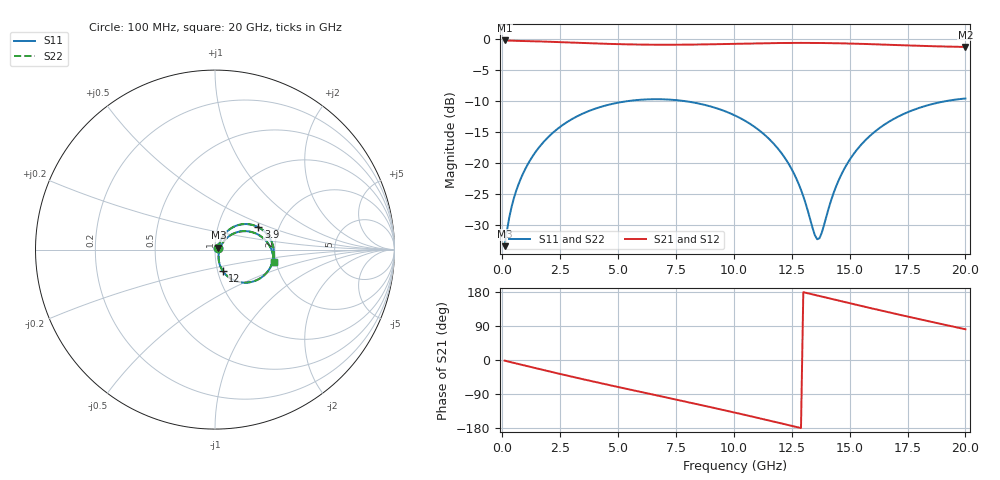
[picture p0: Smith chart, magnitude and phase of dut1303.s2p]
! Touchstone file exported from HFSS 2026.1.0
!  File:  C:/ffzhzh/LocalFiles/Ansys_Project_Files/temp_train_TSV_RDL_1303_1783333837_30076.aedt
!  Generated:  06:39:35 PM Jul  6, 2026
!  Design:  TSV_RDL
!  Project:  temp_train_TSV_RDL_1303_1783333837_30076
! Variables:
!  h_bsmrdl = 4.13um
!  h_ox = 20um
!  h_rdl = 5um
!  h_sub = 76.27um
!  h_tmrdl = 3.85um
!  h_tsv = 76.27um
!  h_via = 3um
!  l_bsmrdl = 592.97um
!  l_sub = 4725.36um
!  l_tmrdl = 601.28um
!  m_sub = 200um
!  pitch = 37.11um
!  r_tsv = 6.52um
!  s_tmrdl = 10um
!  w_bsmrdl = 18.22um
!  w_sub = 500um
!  w_tmrdl = 28.89um
!  x_tsv_center1 = 615.725um
!  x_tsv_center2 = 1226.915um
!  x_tsv_center3 = 1857.085um
!  x_tsv_center4 = 2468.275um
!  x_tsv_center5 = 3098.445um
!  x_tsv_center6 = 3709.635um
# GHz S MA R 50.000000
! Terminal data exported
! Port[1] = TM_RDL1_1_T1
! Port[2] = TM_RDL5_1_T1
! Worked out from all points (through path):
!   200 points, 100 MHz to 20 GHz, reference 50 ohm
!   highest |S21| = -0.16 dB at 100 MHz (marker M1); lowest = -1.2 dB at 20 GHz (marker M2)
!   group delay of S21, straight-line fit = 38.6 ps
!   lowest |S11| = -33.4 dB at 100 MHz (marker M3), VSWR 1.04, Z = 51.9 + j1.07 ohm
!   |S11| at or under -10 dB: start of sweep to 5.319 GHz; 7.976 GHz to 19.08 GHz (11.11 GHz wide, 82.1 % of centre)
!   |S22| runs from -33.4 to -9.5 dB; largest |S21 - S12| = 1.6e-14
!   S11 on the Smith chart (normalised r, x): 100 MHz: 1.04, +0.02; 3.9 GHz: 1.57, +0.42; 12 GHz: 1.06, -0.25; 20 GHz: 1.94, -0.30
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0.1  0.02149 28.5  0.9814 -1.6  0.9814 -1.6  0.02149 28.5
! Gamma 0 0 0 0
! Port Impedance 50 0 50 0
0.3  0.03653 51.0  0.978 -4.7  0.978 -4.7  0.03642 51.1
0.5  0.05236 56.7  0.9754 -7.7  0.9754 -7.7  0.05229 56.8
1.2  0.1059 57.8  0.9687 -18.0  0.9687 -18.0  0.1059 57.8
2.2  0.1778 48.4  0.9558 -32.6  0.9558 -32.6  0.1778 48.4
3.5  0.2534 32.5  0.9359 -50.9  0.9359 -50.9  0.2534 32.5
3.9  0.2717 27.4  0.9301 -56.4  0.9301 -56.4  0.2717 27.4
5.3  0.3159 9.7  0.9137 -75.3  0.9137 -75.3  0.3158 9.7
6.8  0.3295 -9.0  0.9061 -95.1  0.9061 -95.1  0.3294 -9.0
8.5  0.3037 -30.1  0.9105 -117.7  0.9105 -117.7  0.3037 -30.0
10.1  0.241 -49.7  0.9226 -139.6  0.9226 -139.6  0.2409 -49.7
12  0.1251 -70.1  0.9359 -166.6  0.9359 -166.6  0.1251 -70.0
12.8  0.06826 -71.5  0.938 -178.2  0.938 -178.2  0.06831 -71.3
13.4  0.03012 -46.9  0.9374 173.1  0.9374 173.1  0.03032 -46.5
13.6  0.02443 -18.9  0.9368 170.2  0.9368 170.2  0.0247 -18.7
13.7  0.02493 -2.3  0.9364 168.7  0.9364 168.7  0.02521 -2.3
14.3  0.05711 41.5  0.933 160.0  0.933 160.0  0.05728 41.3
14.9  0.09969 44.3  0.9279 151.3  0.9279 151.3  0.09981 44.1
15.7  0.1551 38.5  0.919 139.8  0.919 139.8  0.1552 38.3
16.7  0.2169 27.7  0.9058 125.8  0.9058 125.8  0.217 27.6
18.3  0.2918 8.6  0.8849 103.8  0.8849 103.8  0.2919 8.5
20  0.3338 -11.9  0.8703 81.1  0.8703 81.1  0.3339 -12.0
